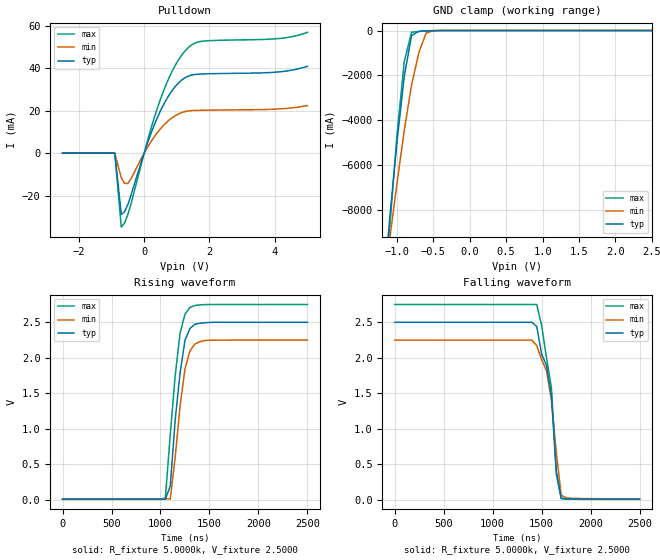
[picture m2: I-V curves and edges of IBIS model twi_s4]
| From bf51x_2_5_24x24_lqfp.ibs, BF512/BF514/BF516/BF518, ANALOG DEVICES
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[Model]   twi_s4
Model_type   I/O_open_drain
Polarity   Non-Inverting
Enable   Active-Low
Vinl =   0.7500V
Vinh =   1.7500V
Vmeas =   1.2500V
Cref =  50.0000pF
Rref =   5.0000k
Vref =   2.5000V
C_comp   7.1300pF   6.4200pF   7.8500pF
[Temperature Range]   25.0000   0.1250k   0.000
[Voltage Range]   2.5000V   2.2500V   2.7500V
[Pullup Reference]   2.5000V   2.2500V   2.7500V
[Pulldown Reference]   0.000V   0.000V   0.000V
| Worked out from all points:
|   slope of the pulldown table from 0 to 0.375 V, typ, clamps not added: 24 ohm
|   GND clamp passes 1 mA (typ) near -0.42 V on its own axis
|   rising waveform, R_fixture 5.0000k, V_fixture 2.5000: 20-80 % time 107ns typ, 108ns min, 108ns max; typ from 0.011 V to 2.5 V
|   falling waveform, R_fixture 5.0000k, V_fixture 2.5000: 20-80 % time 130ns typ, 115ns min, 114ns max; typ from 2.5 V to 0.011 V
[Pulldown]
| voltage   I(typ)   I(min)   I(max)
-2.5V     0A         0A         0A
-900mV    0A         0A         0A
-700mV    -28.8mA    -11.6mA    -34.81mA
-600mV    -27.58mA   -14.2mA    -32.86mA
-500mV    -24.19mA   -14.27mA   -28.94mA
100mV     4.594mA    2.698mA    5.731mA
500mV     19.92mA    11.5mA     25.41mA
900mV     30.36mA    17.14mA    39.84mA
1.3V      35.91mA    19.74mA    48.91mA
1.8V      37.27mA    20.21mA    52.71mA
4V        38.07mA    20.71mA    53.77mA
5V        40.87mA    22.38mA    56.86mA
[GND_clamp]
| voltage   I(typ)   I(min)   I(max)
-2.5V     -61.62A    -46.7A     -74A
-1.2V     -12A       -11.86A    -13.19A
-1.1V     -8.386A    -9.303A    -8.788A
-1V       -4.95A     -6.809A    -4.649A
-900mV    -2.039A    -4.453A    -1.383A
-800mV    -224mA     -2.427A    -75.56mA
-700mV    -35.99mA   -991.4mA   -42.74mA
-600mV    -13.99mA   -107.7mA   -20.85mA
-500mV    -3.49mA    -11.55mA   -6.233mA
2.5V      885.7pA    19.82nA    1.239nA
[Ramp]
| variable   typ   min   max
dV/dt_r   1.4931/99.5795n   1.3398/0.1024u   1.6438/0.1015u
dV/dt_f   1.4936/0.1354u   1.3396/0.1079u   1.6444/0.1255u
R_load = 5.0000k
[Rising Waveform]
R_fixture = 5.0000k
V_fixture = 2.5000
V_fixture_min = 2.2500
V_fixture_max = 2.7500
L_fixture = 0.000H
C_fixture = 0.000F
| time   V(typ)   V(min)   V(max)
0s        10.52mV    16.06mV    9.327mV
1.05us    10.52mV    16.06mV    28.48mV
1.1us     196.8mV    16.06mV    921.8mV
1.15us    1.123V     600.4mV    1.746V
1.2us     1.788V     1.321V     2.346V
1.25us    2.244V     1.843V     2.612V
1.3us     2.41V      2.095V     2.707V
1.35us    2.471V     2.191V     2.735V
1.45us    2.492V     2.243V     2.748V
2.5us     2.499V     2.249V     2.749V
[Falling Waveform]
R_fixture = 5.0000k
V_fixture = 2.5000
V_fixture_min = 2.2500
V_fixture_max = 2.7500
L_fixture = 0.000H
C_fixture = 0.000F
| time   V(typ)   V(min)   V(max)
0s        2.5V       2.249V     2.75V
1.4us     2.5V       2.249V     2.75V
1.45us    2.442V     2.171V     2.75V
1.5us     2.052V     1.976V     2.457V
1.55us    1.891V     1.818V     1.998V
1.6us     1.466V     1.403V     1.584V
1.65us    404.5mV    666.3mV    357.8mV
1.7us     25.81mV    68.83mV    17.05mV
1.8us     14.32mV    24.15mV    11.79mV
2.5us     10.62mV    16.39mV    9.368mV
